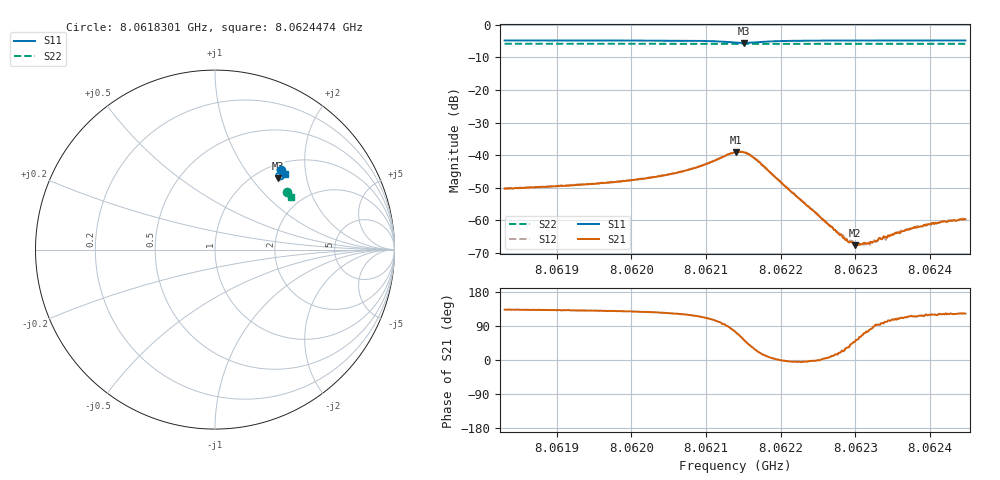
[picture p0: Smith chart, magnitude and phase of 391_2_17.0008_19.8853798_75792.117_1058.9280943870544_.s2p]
#  HZ  S  RI  R  50.00
! Rohde & Schwarz Vector Network Analyzer
! Rohde-Schwarz,ZNB20-2Port,1311601062101988,3.16
! Created: UTC 3/20/2024, 11:09:39 PM
! freq[Hz]  re:S11  im:S11  re:S21  im:S21  re:S12  im:S12  re:S22  im:S22
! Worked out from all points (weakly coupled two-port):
!   401 points, 8.0618301 GHz to 8.0624474 GHz, reference 50 ohm
!   highest |S21| = -39.03 dB at 8.0621403 GHz (marker M1); lowest = -67.7 dB at 8.0622993 GHz (marker M2)
!   lowest |S11| = -5.5 dB at 8.0621511 GHz (marker M3), VSWR 3.24, Z = 62 + j68.2 ohm
!   |S11| at or under -10 dB: nowhere
!   |S22| runs from -5.9 to -5.8 dB; largest |S21 - S12| = 0.0008
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8.06183008e9  0.3663 0.4447  -0.00209 0.00224  -0.00193 0.00236  0.3988 0.3218
8.06193349e9  0.3734 0.4383  -0.0023 0.00267  -0.00216 0.0028  0.4027 0.3167
8.06198288e9  0.3772 0.4345  -0.00245 0.00304  -0.00228 0.00322  0.4045 0.3142
8.0620369e9  0.3817 0.4285  -0.00271 0.00387  -0.00251 0.00407  0.4066 0.3113
8.06208937e9  0.3862 0.4169  -0.00282 0.00595  -0.00248 0.00615  0.4084 0.3081
8.06213876e9  0.366 0.3908  0.00278 0.0105  0.00356 0.0106  0.4087 0.3051
8.0621403e9  0.3638 0.3908  0.00339 0.0106  0.00406 0.0104  0.4088 0.3049
8.06215111e9  0.3486 0.3968  0.0067 0.0087  0.00719 0.00839  0.4085 0.3048
8.06215882e9  0.3424 0.4069  0.00779 0.00629  0.00833 0.00573  0.4086 0.3051
8.06216963e9  0.3429 0.4209  0.00742 0.00296  0.0077 0.00258  0.4092 0.3051
8.06224217e9  0.3723 0.4345  0.00144 -5.86e-05  0.00146 -0.000194  0.4131 0.3019
8.06227921e9  0.3783 0.4321  0.000558 0.00019  0.000591 0.000163  0.4146 0.3
8.06228847e9  0.3796 0.4315  0.000428 0.00027  0.000444 0.000245  0.4151 0.2994
8.06229927e9  0.3808 0.4308  0.000281 0.000303  0.000281 0.000325  0.4154 0.2989
8.06231162e9  0.382 0.43  0.000145 0.000424  0.000168 0.000381  0.4159 0.2982
8.06232551e9  0.3834 0.429  8.48e-06 0.000472  2.94e-05 0.000492  0.4165 0.2975
8.06233786e9  0.3846 0.4282  -6.57e-05 0.000561  -4.81e-05 0.000537  0.4169 0.2968
8.06234558e9  0.3852 0.4279  -0.000134 0.000547  -9.85e-05 0.000557  0.4171 0.2963
8.06237181e9  0.3873 0.4262  -0.000302 0.000643  -0.000262 0.000678  0.4181 0.2951
8.06239496e9  0.389 0.4249  -0.000434 0.000746  -0.00033 0.000744  0.4188 0.294
8.06241966e9  0.3908 0.4232  -0.000487 0.00083  -0.000432 0.000871  0.4198 0.2926
8.06244744e9  0.3927 0.4217  -0.000554 0.000873  -0.000516 0.00091  0.4207 0.2911
